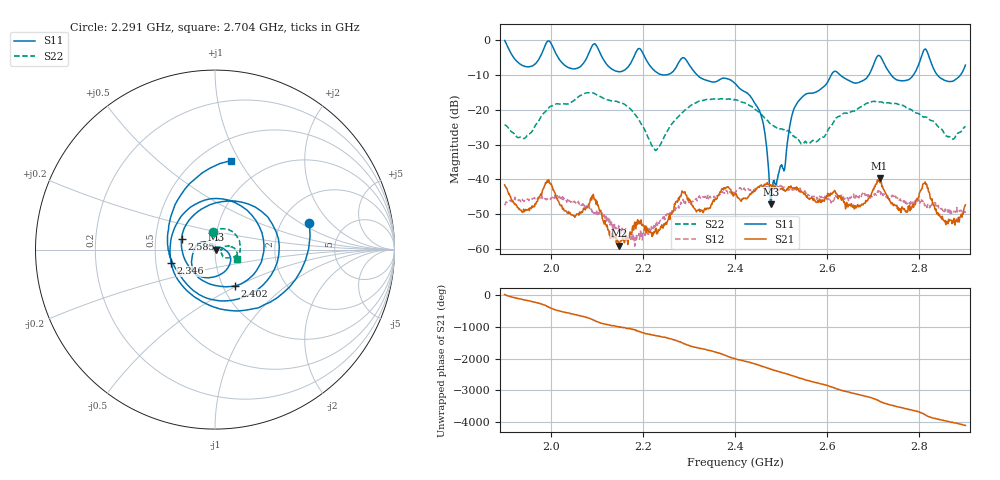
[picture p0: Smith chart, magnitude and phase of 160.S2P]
! C:\Users\rflab\Downloads\Lab5_KD_ZW\160.S2P
! Touchstone 1.1 file saved by VNA.EXE V1.65 (www.ke5fx.com/gpib/readme.htm)
! 11/12/2024 12:15:21 AM
!  Source: HEWLETT PACKARD,8753D,0,6.14
!  Min freq: 1.900000E+009 Hz
!  Max freq: 2.900000E+009 Hz
!  Points: 801
!  Params: S11 S21 S12 S22
# GHZ S RI R 50
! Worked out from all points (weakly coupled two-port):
!   801 points, 1.9 GHz to 2.9 GHz, reference 50 ohm
!   highest |S21| = -39.72 dB at 2.714 GHz (marker M1); lowest = -59.1 dB at 2.149 GHz (marker M2)
!   lowest |S11| = -47.2 dB at 2.478 GHz (marker M3), VSWR 1.01, Z = 50.4 + j0.0364 ohm
!   |S11| at or under -10 dB: 2.318 GHz to 2.609 GHz (290.8 MHz wide, 11.8 % of centre); 2.628 GHz to 2.69 GHz (62.23 MHz wide, 2.34 % of centre); 2.839 GHz to 2.889 GHz (50.14 MHz wide, 1.75 % of centre) (the widest 3 of 4)
!   |S22| runs from -31.7 to -15.1 dB; largest |S21 - S12| = 0.005
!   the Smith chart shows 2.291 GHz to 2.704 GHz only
!   S11 on the Smith chart (normalised r, x): 2.291 GHz: 2.84, +1.21; 2.346 GHz: 0.60, -0.09; 2.402 GHz: 1.14, -0.48; 2.585 GHz: 0.68, +0.09; 2.704 GHz: 0.69, +0.92
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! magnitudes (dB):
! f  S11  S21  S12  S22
! 1.9 GHz  -0.1  -41.6  -47.2  -24.3
! 1.942 GHz  -7.5  -49.3  -46.4  -28.3
! 1.994 GHz  -0.2  -40.9  -45.6  -19.7
! 2.067 GHz  -7.2  -49.3  -47.5  -15.7
! 2.095 GHz  -1.0  -45.9  -49.8  -15.3
! 2.149 GHz  -9.1  -59.1  -55.5  -17.8
! 2.192 GHz  -2.4  -52.3  -57.3  -23.1
! 2.234 GHz  -9.6  -54.5  -52.3  -30.7
! 2.291 GHz  -5.2  -43.6  -46.0  -20.1
! 2.346 GHz  -11.9  -48.3  -44.9  -17.0
! 2.4 GHz  -12.4  -44.4  -43.7  -17.1
! 2.402 GHz  -12.8  -44.3  -43.3  -17.2
! 2.456 GHz  -21.4  -41.8  -41.7  -21.2
! 2.478 GHz  -47.2  -41.6  -42.8  -24.2
! 2.506 GHz  -37.6  -42.9  -42.2  -25.7
! 2.53 GHz  -19.2  -42.7  -42.9  -27.9
! 2.567 GHz  -15.2  -45.5  -45.2  -28.9
! 2.585 GHz  -14.2  -46.5  -45.1  -28.2
! 2.704 GHz  -6.0  -42.2  -44.1  -17.6
! 2.714 GHz  -4.4  -39.7  -43.6  -17.7
! 2.734 GHz  -9.1  -45.9  -44.9  -18.0
! 2.9 GHz  -7.2  -47.3  -49.6  -24.8
